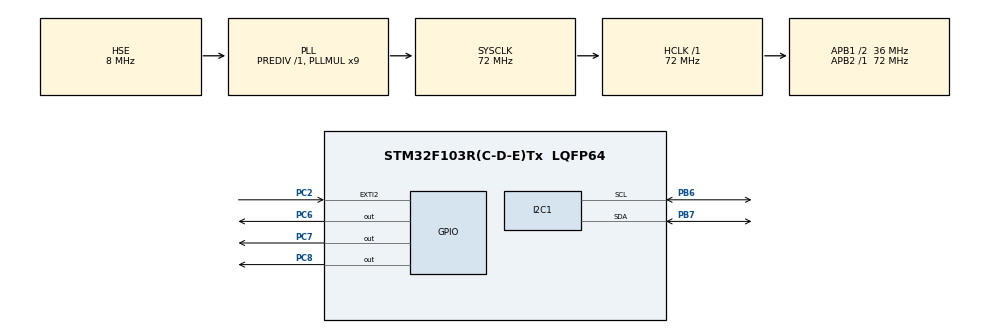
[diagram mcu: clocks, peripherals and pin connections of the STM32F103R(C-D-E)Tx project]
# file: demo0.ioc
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I2C1.I2C_Mode=I2C_Fast
Mcu.Family=STM32F1
Mcu.Name=STM32F103R(C-D-E)Tx
Mcu.Package=LQFP64
NVIC.EXTI2_IRQn=true\:0\:0\:false\:false\:true\:true\:true\:true
NVIC.PriorityGroup=NVIC_PRIORITYGROUP_4
PB6.Mode=I2C
PB6.Signal=I2C1_SCL
PB7.Mode=I2C
PB7.Signal=I2C1_SDA
PC2.GPIO_ModeDefaultEXTI=GPIO_MODE_IT_FALLING
PC2.Signal=GPXTI2
PC6.PinState=GPIO_PIN_RESET
PC6.Signal=GPIO_Output
PC7.Signal=GPIO_Output
PC8.Signal=GPIO_Output
PD0-OSC_IN.Mode=HSE-External-Oscillator
PD0-OSC_IN.Signal=RCC_OSC_IN
PD1-OSC_OUT.Mode=HSE-External-Oscillator
PD1-OSC_OUT.Signal=RCC_OSC_OUT
ProjectManager.HeapSize=0x200
ProjectManager.StackSize=0x400
ProjectManager.TargetToolchain=MDK-ARM V5.32
RCC.AHBFreq_Value=72000000
RCC.APB1CLKDivider=RCC_HCLK_DIV2
RCC.APB1Freq_Value=36000000
RCC.APB1TimFreq_Value=72000000
RCC.APB2Freq_Value=72000000
RCC.APB2TimFreq_Value=72000000
RCC.HCLKFreq_Value=72000000
RCC.PLLMUL=RCC_PLL_MUL9
RCC.PLLSourceVirtual=RCC_PLLSOURCE_HSE
RCC.SYSCLKFreq_VALUE=72000000
RCC.SYSCLKSource=RCC_SYSCLKSOURCE_PLLCLK
RCC.USBFreq_Value=72000000
VP_SYS_VS_ND.Mode=No_Debug
board=custom

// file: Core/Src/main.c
/* USER CODE BEGIN Header */
/**
  ******************************************************************************
  * @file           : main.c
  * @brief          : Main program body
  ******************************************************************************
  * @attention
  *
  * Copyright (c) 2024 STMicroelectronics.
  * All rights reserved.
  *
  * This software is licensed under terms that can be found in the LICENSE file
  * in the root directory of this software component.
  * If no LICENSE file comes with this software, it is provided AS-IS.
  *
  ******************************************************************************
  */
/* USER CODE END Header */
#include "main.h"

I2C_HandleTypeDef hi2c1;

void SystemClock_Config(void);
static void MX_GPIO_Init(void);
static void MX_I2C1_Init(void);

/* USER CODE BEGIN 0 */

#include "led.h"

uint32_t key_tick = 0;

void HAL_GPIO_EXTI_Callback(uint16_t Pin)
{
	if( ( HAL_GetTick()-key_tick ) <200 )
	{
		//如果时间间隔小于200ms,判定为信号抖动,检测作废
		return;
	}
	//在中断服务函数中点亮LED灯
	led_switch(LED_R,LED_ON);

	key_tick = HAL_GetTick();//获取当前时刻
}

//包含显示屏驱动头文件
#include "stm32_hal_hw_i2c_u8g2.h"
//声明一个u8g2的结构体
u8g2_t u8g2;
int x=0,y=0;
char buf[32];
#include "stdio.h"
#include "string.h"
int temp = 20; // >> "20"
int hum  = 56; // >> "56"

#include "anim_kk1.h"
#include "anim_kk2.h"

//播放动画的函数
void play_animation(
	const uint8_t* anim[], uint16_t cnt, uint16_t delay,
  uint16_t x,uint16_t y,uint16_t w, uint16_t h )
{
  for(uint16_t i=0;i<cnt;i++)
  {
    u8g2_ClearBuffer(&u8g2);

    u8g2_DrawXBM(&u8g2,x,y,w,h,anim[i]);

    u8g2_SendBuffer(&u8g2);

    HAL_Delay(delay);
  }
}
/* USER CODE END 0 */

int main(void)
{

  /* MCU Configuration--------------------------------------------------------*/

  /* Reset of all peripherals, Initializes the Flash interface and the Systick. */
  HAL_Init();

  /* Configure the system clock */
  SystemClock_Config();

  /* Initialize all configured peripherals */
  MX_GPIO_Init();
  MX_I2C1_Init();
  /* USER CODE BEGIN 2 */
	u8g2_init(&u8g2,&hi2c1,0x78);

	play_animation(
		xbm_kk0, //动图数据首地址
		19, 		 //动图的帧数
		150,		 //显示间隔
		0,0,		 //坐标(左上角)
		128, 64  //动图的尺寸
		);

  /* USER CODE END 2 */

  /* Infinite loop */
  /* USER CODE BEGIN WHILE */
  while (1)
  {

		u8g2_ClearBuffer(&u8g2);//清空显存,清空旧图像防止图像重合

		u8g2_SetFont( &u8g2, u8g2_font_6x10_mf );	//设置字体

		sprintf(buf,"%d,%d",temp,hum);//转换传感器数据字符串

		y++;
		if(y>=128) y=-10; //滚动显示内容

		u8g2_DrawStr( &u8g2, x, y+10, buf );//绘制字符串

		u8g2_SendBuffer(&u8g2);//发送显存到显示屏

    /* USER CODE END WHILE */

  }
}

void SystemClock_Config(void)
{
  RCC_OscInitTypeDef RCC_OscInitStruct = {0};
  RCC_ClkInitTypeDef RCC_ClkInitStruct = {0};

  /** Initializes the RCC Oscillators according to the specified parameters
  * in the RCC_OscInitTypeDef structure.
  */
  RCC_OscInitStruct.OscillatorType = RCC_OSCILLATORTYPE_HSE;
  RCC_OscInitStruct.HSEState = RCC_HSE_ON;
  RCC_OscInitStruct.HSEPredivValue = RCC_HSE_PREDIV_DIV1;
  RCC_OscInitStruct.HSIState = RCC_HSI_ON;
  RCC_OscInitStruct.PLL.PLLState = RCC_PLL_ON;
  RCC_OscInitStruct.PLL.PLLSource = RCC_PLLSOURCE_HSE;
  RCC_OscInitStruct.PLL.PLLMUL = RCC_PLL_MUL9;
  if (HAL_RCC_OscConfig(&RCC_OscInitStruct) != HAL_OK)
  {
    Error_Handler();
  }

  /** Initializes the CPU, AHB and APB buses clocks
  */
  RCC_ClkInitStruct.ClockType = RCC_CLOCKTYPE_HCLK|RCC_CLOCKTYPE_SYSCLK
                              |RCC_CLOCKTYPE_PCLK1|RCC_CLOCKTYPE_PCLK2;
  RCC_ClkInitStruct.SYSCLKSource = RCC_SYSCLKSOURCE_PLLCLK;
  RCC_ClkInitStruct.AHBCLKDivider = RCC_SYSCLK_DIV1;
  RCC_ClkInitStruct.APB1CLKDivider = RCC_HCLK_DIV2;
  RCC_ClkInitStruct.APB2CLKDivider = RCC_HCLK_DIV1;

  if (HAL_RCC_ClockConfig(&RCC_ClkInitStruct, FLASH_LATENCY_2) != HAL_OK)
  {
    Error_Handler();
  }
}

static void MX_I2C1_Init(void)
{

  hi2c1.Instance = I2C1;
  hi2c1.Init.ClockSpeed = 400000;
  hi2c1.Init.DutyCycle = I2C_DUTYCYCLE_2;
  hi2c1.Init.OwnAddress1 = 0;
  hi2c1.Init.AddressingMode = I2C_ADDRESSINGMODE_7BIT;
  hi2c1.Init.DualAddressMode = I2C_DUALADDRESS_DISABLE;
  hi2c1.Init.OwnAddress2 = 0;
  hi2c1.Init.GeneralCallMode = I2C_GENERALCALL_DISABLE;
  hi2c1.Init.NoStretchMode = I2C_NOSTRETCH_DISABLE;
  if (HAL_I2C_Init(&hi2c1) != HAL_OK)
  {
    Error_Handler();
  }

}

static void MX_GPIO_Init(void)
{
  GPIO_InitTypeDef GPIO_InitStruct = {0};

  /* GPIO Ports Clock Enable */
  __HAL_RCC_GPIOD_CLK_ENABLE();
  __HAL_RCC_GPIOC_CLK_ENABLE();
  __HAL_RCC_GPIOB_CLK_ENABLE();

  /*Configure GPIO pin Output Level */
  HAL_GPIO_WritePin(GPIOC, GPIO_PIN_6|GPIO_PIN_7|GPIO_PIN_8, GPIO_PIN_RESET);

  /*Configure GPIO pin : PC2 */
  GPIO_InitStruct.Pin = GPIO_PIN_2;
  GPIO_InitStruct.Mode = GPIO_MODE_IT_FALLING;
  GPIO_InitStruct.Pull = GPIO_NOPULL;
  HAL_GPIO_Init(GPIOC, &GPIO_InitStruct);

  /*Configure GPIO pins : PC6 PC7 PC8 */
  GPIO_InitStruct.Pin = GPIO_PIN_6|GPIO_PIN_7|GPIO_PIN_8;
  GPIO_InitStruct.Mode = GPIO_MODE_OUTPUT_PP;
  GPIO_InitStruct.Pull = GPIO_NOPULL;
  GPIO_InitStruct.Speed = GPIO_SPEED_FREQ_LOW;
  HAL_GPIO_Init(GPIOC, &GPIO_InitStruct);

  /* EXTI interrupt init*/
  HAL_NVIC_SetPriority(EXTI2_IRQn, 0, 0);
  HAL_NVIC_EnableIRQ(EXTI2_IRQn);

}

void Error_Handler(void)
{
  __disable_irq();
  while (1)
  {
  }
}
